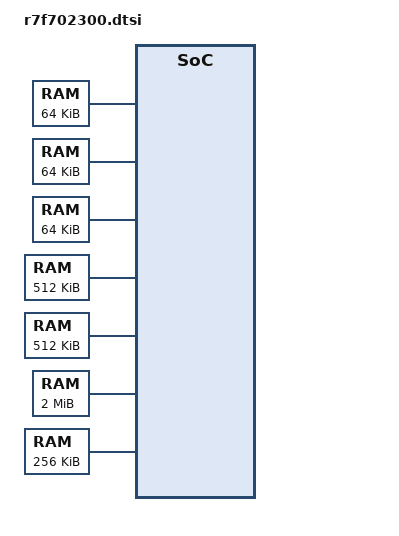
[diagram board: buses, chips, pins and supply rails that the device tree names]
/*
 * SPDX-FileCopyrightText: Copyright (c) 2026 Linumiz
 *
 * SPDX-License-Identifier: Apache-2.0
 */

#include <renesas/rh850u2a.dtsi>

/ {
	soc {
		flash0: flash@0 {
			compatible = "soc-nv-flash";
			reg = <0x0 DT_SIZE_M(16)>;
			ranges = <0x0 0x0 DT_SIZE_M(16)>;
			#address-cells = <1>;
			#size-cells = <1>;
		};
	};

	/* Local RAM CPU3 */
	lram3: memory@fd600000 {
		compatible = "zephyr,memory-region", "mmio-sram";
		reg = <0xfd600000 DT_SIZE_K(64)>;
		zephyr,memory-region = "LRAM3";
	};

	/* Local RAM CPU2 */
	lram2: memory@fd800000 {
		compatible = "zephyr,memory-region", "mmio-sram";
		reg = <0xfd800000 DT_SIZE_K(64)>;
		zephyr,memory-region = "LRAM2";
	};

	/* Local RAM CPU1 */
	lram1: memory@fda00000 {
		compatible = "zephyr,memory-region", "mmio-sram";
		reg = <0xfda00000 DT_SIZE_K(64)>;
		zephyr,memory-region = "LRAM1";
	};

	/* Cluster RAM 0 */
	cram0: memory@fe000000 {
		compatible = "zephyr,memory-region", "mmio-sram";
		reg = <0xfe000000 DT_SIZE_K(512)>;
		zephyr,memory-region = "CRAM0";
	};

	/* Cluster RAM 1 */
	cram1: memory@fe100000 {
		compatible = "zephyr,memory-region", "mmio-sram";
		reg = <0xfe100000 DT_SIZE_K(512)>;
		zephyr,memory-region = "CRAM1";
	};

	/* Cluster RAM 2 */
	cram2: memory@fe400000 {
		compatible = "zephyr,memory-region", "mmio-sram";
		reg = <0xfe400000 DT_SIZE_M(2)>;
		zephyr,memory-region = "CRAM2";
	};

	/* Cluster RAM 3, retention RAM */
	cram3: memory@fe800000 {
		compatible = "zephyr,memory-region", "mmio-sram";
		reg = <0xfe800000 DT_SIZE_K(256)>;
		zephyr,memory-region = "CRAM3";
	};
};
